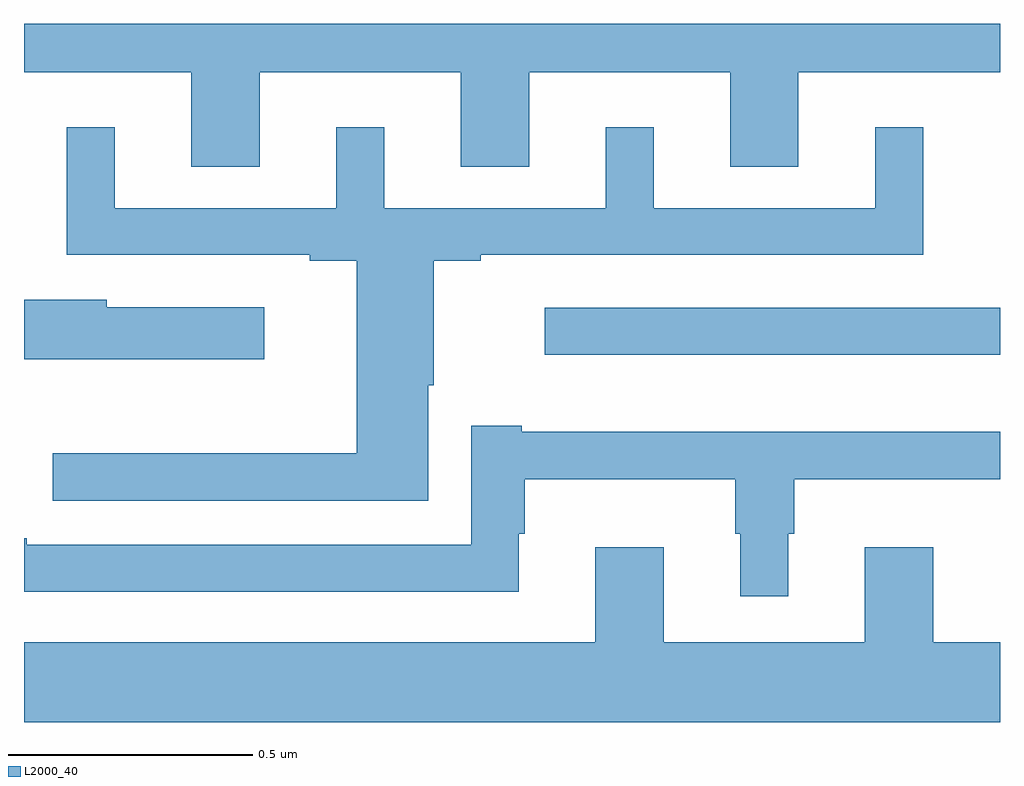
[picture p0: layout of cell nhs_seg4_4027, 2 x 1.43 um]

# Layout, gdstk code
import gdstk
lib = gdstk.Library(unit=1e-6, precision=1e-09)
def R(c, l, rs):  # rectangles x0, y0, x1, y1
    for r in rs: c.add(gdstk.rectangle(r[:2], r[2:], *l))
def P(c, l, *ps):  # polygons
    for p in ps: c.add(gdstk.Polygon(p, *l))
L2000_40 = (2000, 40)

nhs_seg4_4027 = lib.new_cell('nhs_seg4_4027')
R(nhs_seg4_4027, L2000_40, [(161.067,816.221,162,816.318)])
P(nhs_seg4_4027, L2000_40, [(162,816.9),(160,816.9),(160,816.8),(160.343,816.8),(160.343,816.607),(160.483,816.607),(160.483,816.8),(160.895,816.8),(160.895,816.607),(161.035,816.607),(161.035,816.8),(161.447,816.8),(161.447,816.607),(161.587,816.607),(161.587,816.8),(162,816.8)],
  [(160.828,816.159),(160.84,816.159),(160.84,816.414),(160.936,816.414),(160.936,816.426),(161.843,816.426),(161.843,816.688),(161.744,816.688),(161.744,816.522),(161.29,816.522),(161.29,816.688),(161.192,816.688),(161.192,816.522),(160.738,816.522),(160.738,816.688),(160.64,816.688),(160.64,816.522),(160.186,816.522),(160.186,816.688),(160.088,816.688),(160.088,816.426),(160.586,816.426),(160.586,816.414),(160.682,816.414),(160.682,816.02),(160.059,816.02),(160.059,815.922),(160.828,815.922)],
  [(160.492,816.319),(160.17,816.319),(160.17,816.334),(160,816.334),(160,816.212),(160.492,816.212)],
  [(161.566,815.855),(161.578,815.855),(161.578,815.966),(162,815.966),(162,816.064),(161.02,816.064),(161.02,816.076),(160.917,816.076),(160.917,815.832),(160.006,815.832),(160.006,815.845),(160,815.845),(160,815.736),(161.014,815.736),(161.014,815.855),(161.026,815.855),(161.026,815.966),(161.457,815.966),(161.457,815.855),(161.468,815.855),(161.468,815.727),(161.566,815.727)],
  [(162,815.632),(161.863,815.632),(161.863,815.827),(161.723,815.827),(161.723,815.632),(161.311,815.632),(161.311,815.827),(161.171,815.827),(161.171,815.632),(160,815.632),(160,815.468),(162,815.468)])

lib.write_gds('nhs_seg4_4027.gds')
